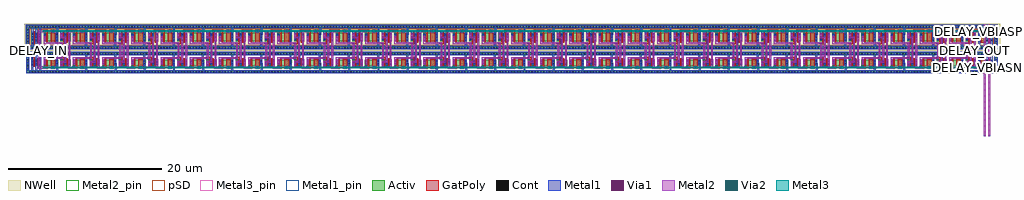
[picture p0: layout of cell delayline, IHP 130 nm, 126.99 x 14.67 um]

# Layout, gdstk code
import gdstk
lib = gdstk.Library(unit=1e-6, precision=1e-09)
def R(c, l, rs):  # rectangles x0, y0, x1, y1
    for r in rs: c.add(gdstk.rectangle(r[:2], r[2:], *l))
def A(c, l, x, y, w, h, nx, ny, dx, dy):  # array of equal rectangles
    R(c, l, [(x+i*dx, y+j*dy, x+i*dx+w, y+j*dy+h) for i in range(nx) for j in range(ny)])
def P(c, l, *ps):  # polygons
    for p in ps: c.add(gdstk.Polygon(p, *l))
Activ = (1, 0)
GatPoly = (5, 0)
Cont = (6, 0)
Metal1 = (8, 0)
Metal1_pin = (8, 2)
Metal2 = (10, 0)
Metal2_pin = (10, 2)
pSD = (14, 0)
Via1 = (19, 0)
Via2 = (29, 0)
Metal3 = (30, 0)
Metal3_pin = (30, 2)
NWell = (31, 0)

delay_cell_right_endcap = lib.new_cell('delay_cell_right_endcap')
R(delay_cell_right_endcap, Activ, [(0.715,0.795,2.575,1.535), (0.715,3.935,2.575,5.055)])
P(delay_cell_right_endcap, Activ, [(0.6,-0.15),(0.6,0.15),(2.885,0.15),(2.885,2.195),(0.6,2.195),(0.6,2.495),(3.185,2.495),(3.185,-0.15)],
  [(0.6,2.975),(0.6,3.275),(2.885,3.275),(2.885,5.715),(0.6,5.715),(0.6,6.015),(3.185,6.015),(3.185,2.975)])
R(delay_cell_right_endcap, GatPoly, [(1.055,0.405,1.655,1.715), (1.055,3.755,1.655,5.445)])
P(delay_cell_right_endcap, GatPoly, [(2.035,3.755),(2.035,5.445),(2.575,5.445),(2.575,5.145),(2.235,5.145),(2.235,3.755)],
  [(2.035,0.405),(2.035,1.715),(2.235,1.715),(2.235,0.705),(2.575,0.705),(2.575,0.405)])
A(delay_cell_right_endcap, Cont, 0.71, -0.08, 0.16, 0.16, 6, 2, 0.38, 2.345)
A(delay_cell_right_endcap, Cont, 2.955, -0.035, 0.16, 0.16, 1, 7, 0, 0.38)
A(delay_cell_right_endcap, Cont, 0.71, 3.045, 0.16, 0.16, 6, 2, 0.38, 2.74)
A(delay_cell_right_endcap, Cont, 2.955, 3.085, 0.16, 0.16, 1, 8, 0, 0.38)
A(delay_cell_right_endcap, Cont, 1.765, 4.005, 0.16, 0.16, 1, 3, 0, 0.385)
A(delay_cell_right_endcap, Cont, 2.345, 4.005, 0.16, 0.16, 1, 3, 0, 0.385)
R(delay_cell_right_endcap, Cont, [(1.275,0.475,1.435,0.635), (2.345,0.475,2.505,0.635), (0.785,0.965,0.945,1.125), (1.765,0.965,1.925,1.125), (2.345,0.965,2.505,1.125), (0.785,1.305,0.945,1.465), (1.765,1.305,1.925,1.465), (2.345,1.305,2.505,1.465), (0.785,4.005,0.945,4.165), (0.785,4.415,0.945,4.575), (0.785,4.775,0.945,4.935), (1.275,5.215,1.435,5.375), (2.345,5.215,2.505,5.375)])
R(delay_cell_right_endcap, Metal1, [(1.21,0.22,1.5,0.705), (1.7,0.22,1.99,2.125), (2.28,0.22,2.57,2.125), (1.7,3.345,1.99,5.645), (2.28,3.345,2.57,5.645), (1.21,5.145,1.5,5.645)])
P(delay_cell_right_endcap, Metal1, [(0.6,2.905),(0.6,3.345),(2.815,3.345),(2.815,5.645),(0.6,5.645),(0.6,6.085),(3.255,6.085),(3.255,2.905)],
  [(0.6,-0.22),(0.6,0.22),(2.81,0.22),(2.81,2.125),(0.6,2.125),(0.6,2.565),(3.25,2.565),(3.25,-0.22)],
  [(0.735,3.345),(0.735,4.805),(0.695,4.805),(0.695,5.645),(0.945,5.645),(0.945,4.985),(0.995,4.985),(0.995,3.345)],
  [(0.695,0.22),(0.695,1.125),(0.735,1.125),(0.735,2.125),(0.995,2.125),(0.995,0.86),(0.945,0.86),(0.945,0.22)])
R(delay_cell_right_endcap, Metal1_pin, [(0.645,2.125,3.25,2.565), (0.645,2.905,3.255,3.345)])
R(delay_cell_right_endcap, pSD, [(0.535,3.36,2.755,5.615)])
P(delay_cell_right_endcap, pSD, [(0.57,-0.18),(0.57,0.18),(2.85,0.18),(2.85,2.165),(0.57,2.165),(0.57,2.525),(3.215,2.525),(3.215,-0.18)])
R(delay_cell_right_endcap, NWell, [(-1.35,2.735,3.54,6.255)])
delay_cell_right_endcap.add(gdstk.Label('VDD', (3.045,3.305), layer=8, texttype=25))
delay_cell_right_endcap.add(gdstk.Label('VSS', (3.005,2.515), layer=8, texttype=25))

delay_cell = lib.new_cell('delay_cell')
R(delay_cell, Activ, [(0,-0.15,3.8,0.15), (0.115,0.795,1.975,1.535), (2.285,0.795,3.605,1.535), (0,2.195,3.8,2.495), (0,2.975,3.8,3.275), (0.115,3.935,1.975,5.055), (2.285,3.935,3.605,5.055), (0,5.715,3.8,6.015)])
R(delay_cell, GatPoly, [(1.035,0.405,1.635,1.715), (1.035,3.755,1.635,5.445)])
P(delay_cell, GatPoly, [(0.115,0.405),(0.115,0.705),(0.455,0.705),(0.455,1.715),(0.655,1.715),(0.655,0.405)],
  [(0.455,3.755),(0.455,5.145),(0.115,5.145),(0.115,5.445),(0.655,5.445),(0.655,3.755)],
  [(2.285,3.545),(2.285,3.845),(2.625,3.845),(2.625,5.235),(2.755,5.235),(2.755,3.545)],
  [(3.135,3.755),(3.135,5.145),(3.05,5.145),(3.05,5.445),(3.35,5.445),(3.35,5.145),(3.265,5.145),(3.265,3.755)],
  [(2.625,0.615),(2.625,1.625),(2.285,1.625),(2.285,1.925),(2.755,1.925),(2.755,0.615)],
  [(3.05,0.42),(3.05,0.72),(3.135,0.72),(3.135,1.73),(3.265,1.73),(3.265,0.72),(3.35,0.72),(3.35,0.42)])
A(delay_cell, Cont, 0.11, -0.08, 0.16, 0.16, 10, 2, 0.38, 2.345)
A(delay_cell, Cont, 0.11, 3.045, 0.16, 0.16, 10, 2, 0.38, 2.74)
A(delay_cell, Cont, 0.185, 4.005, 0.16, 0.16, 1, 3, 0, 0.385)
R(delay_cell, Cont, [(0.185,0.475,0.345,0.635), (1.255,0.475,1.415,0.635), (3.12,0.49,3.28,0.65), (2.355,0.865,2.515,1.025), (0.185,0.965,0.345,1.125), (1.745,0.965,1.905,1.125), (2.865,0.965,3.025,1.125), (3.375,0.965,3.535,1.125), (2.355,1.205,2.515,1.365), (0.185,1.305,0.345,1.465), (1.745,1.305,1.905,1.465), (2.865,1.305,3.025,1.465), (3.375,1.305,3.535,1.465), (2.355,1.695,2.515,1.855), (2.355,3.615,2.515,3.775), (1.745,4.005,1.905,4.165), (2.865,4.005,3.025,4.165), (3.375,4.005,3.535,4.165), (2.355,4.13,2.515,4.29), (1.745,4.415,1.905,4.575), (2.865,4.415,3.025,4.575), (3.375,4.415,3.535,4.575), (2.355,4.475,2.515,4.635), (1.745,4.775,1.905,4.935), (2.865,4.775,3.025,4.935), (3.375,4.775,3.535,4.935), (2.355,4.825,2.515,4.985), (0.185,5.215,0.345,5.375), (1.255,5.215,1.415,5.375), (3.12,5.215,3.28,5.375)])
R(delay_cell, Metal1, [(1.19,0.41,1.48,0.79), (0.05,0.425,0.405,0.685), (0.12,0.9,0.41,1.6), (3.325,0.9,3.585,1.6), (2.205,1.63,2.58,1.92), (2.205,3.55,2.58,3.84), (3.31,3.935,3.6,4.985), (0.12,3.94,0.41,4.945), (1.19,5.06,1.48,5.44), (0.03,5.15,0.41,5.44)])
P(delay_cell, Metal1, [(2.305,0.44),(2.305,1.43),(2.565,1.43),(2.565,0.7),(3.33,0.7),(3.33,0.44)],
  [(2.29,4.065),(2.29,5.425),(3.33,5.425),(3.33,5.165),(2.58,5.165),(2.58,4.065)],
  [(0,-0.22),(0,0.22),(1.745,0.22),(1.745,0.86),(1.695,0.86),(1.695,2.125),(0,2.125),(0,2.565),(3.8,2.565),(3.8,2.125),(3.075,2.125),(3.075,0.9),(2.815,0.9),(2.815,2.125),(1.955,2.125),(1.955,1.125),(1.995,1.125),(1.995,0.22),(3.8,0.22),(3.8,-0.22)],
  [(0,2.905),(0,3.345),(1.695,3.345),(1.695,4.985),(1.745,4.985),(1.745,5.645),(0,5.645),(0,6.085),(3.8,6.085),(3.8,5.645),(1.995,5.645),(1.995,4.805),(1.955,4.805),(1.955,3.345),(2.815,3.345),(2.815,4.985),(3.06,4.985),(3.06,3.345),(3.8,3.345),(3.8,2.905)])
R(delay_cell, Metal1_pin, [(0,-0.22,2.075,0.22), (2.795,-0.22,3.8,0.22), (0,2.125,2.095,2.565), (0,2.905,2.095,3.345), (0,5.645,3.8,6.085)])
R(delay_cell, Metal2, [(1.07,0.385,1.58,0.79), (1.08,5.06,1.59,5.465)])
P(delay_cell, Metal2, [(0.12,0.92),(0.12,1.885),(2.285,1.885),(2.285,1.925),(2.345,1.925),(2.345,3.545),(2.265,3.545),(2.265,3.585),(0.12,3.585),(0.12,4.64),(0.41,4.64),(0.41,3.84),(2.58,3.84),(2.58,1.665),(0.41,1.665),(0.41,0.92)],
  [(2.29,0.73),(2.29,1.43),(2.83,1.43),(2.83,4.35),(2.29,4.35),(2.29,5.035),(2.58,5.035),(2.58,4.57),(3.05,4.57),(3.05,1.195),(2.58,1.195),(2.58,0.73)],
  [(3.31,0.41),(3.31,1.625),(3.345,1.625),(3.345,3.935),(3.31,3.935),(3.31,5.44),(4.21,5.44),(4.21,5.15),(3.6,5.15),(3.6,3.935),(3.565,3.935),(3.565,1.615),(3.6,1.615),(3.6,0.665),(4.205,0.665),(4.205,0.41)])
R(delay_cell, pSD, [(-0.07,-0.18,3.91,0.18), (-0.07,2.165,3.91,2.525), (-0.065,3.36,3.83,5.615)])
R(delay_cell, Via1, [(0.165,0.46,0.355,0.65), (1.24,0.46,1.43,0.65), (2.34,0.78,2.53,0.97), (0.17,0.95,0.36,1.14), (3.36,0.95,3.55,1.14), (2.34,1.19,2.53,1.38), (0.17,1.36,0.36,1.55), (3.36,1.36,3.55,1.55), (2.34,1.68,2.53,1.87), (2.34,3.6,2.53,3.79), (0.17,3.99,0.36,4.18), (3.36,3.99,3.55,4.18), (0.17,4.4,0.36,4.59), (2.34,4.4,2.53,4.59), (3.36,4.4,3.55,4.59), (2.34,4.81,2.53,5), (0.17,5.2,0.36,5.39), (1.24,5.2,1.43,5.39)])
R(delay_cell, Via2, [(1.24,0.46,1.43,0.65), (1.24,5.2,1.43,5.39)])
P(delay_cell, Metal3, [(1.19,5.15),(1.19,5.175),(0,5.175),(0,5.415),(1.19,5.415),(1.19,5.465),(1.48,5.465),(1.48,5.415),(3.8,5.415),(3.8,5.175),(1.48,5.175),(1.48,5.15)],
  [(1.19,0.41),(1.19,0.435),(0,0.435),(0,0.675),(1.19,0.675),(1.19,0.7),(1.48,0.7),(1.48,0.675),(3.8,0.675),(3.8,0.435),(1.48,0.435),(1.48,0.41)])
R(delay_cell, NWell, [(-0.24,2.735,4.04,6.255)])
delay_cell.add(gdstk.Label('VDD', (0.04,6.05), layer=8, texttype=25))
delay_cell.add(gdstk.Label('VSS', (2.835,0.19), layer=8, texttype=25))
delay_cell.add(gdstk.Label('VDD', (0.065,3.32), layer=8, texttype=25))
delay_cell.add(gdstk.Label('VSS', (0.07,2.525), layer=8, texttype=25))
delay_cell.add(gdstk.Label('VSS', (0.03,0.195), layer=8, texttype=25))

delay_cell_left_endcap = lib.new_cell('delay_cell_left_endcap')
R(delay_cell_left_endcap, Activ, [(0.61,0.795,1.93,1.535), (0.61,3.935,1.93,5.055)])
P(delay_cell_left_endcap, Activ, [(0,2.975),(0,6.015),(2.115,6.015),(2.115,5.715),(0.3,5.715),(0.3,3.275),(2.115,3.275),(2.115,2.975)],
  [(0,-0.15),(0,2.495),(2.115,2.495),(2.115,2.195),(0.3,2.195),(0.3,0.15),(2.115,0.15),(2.115,-0.15)])
P(delay_cell_left_endcap, GatPoly, [(0.61,3.545),(0.61,3.845),(0.95,3.845),(0.95,5.235),(1.08,5.235),(1.08,3.545)],
  [(1.46,3.755),(1.46,5.145),(1.375,5.145),(1.375,5.445),(1.675,5.445),(1.675,5.145),(1.59,5.145),(1.59,3.755)],
  [(1.375,0.42),(1.375,0.72),(1.46,0.72),(1.46,1.73),(1.59,1.73),(1.59,0.72),(1.675,0.72),(1.675,0.42)],
  [(0.95,0.615),(0.95,1.625),(0.61,1.625),(0.61,1.925),(1.08,1.925),(1.08,0.615)])
A(delay_cell_left_endcap, Cont, 0.325, -0.08, 0.16, 0.16, 5, 2, 0.38, 2.345)
A(delay_cell_left_endcap, Cont, 0.07, 0.345, 0.16, 0.16, 1, 5, 0, 0.38)
A(delay_cell_left_endcap, Cont, 0.325, 3.045, 0.16, 0.16, 5, 2, 0.38, 2.74)
A(delay_cell_left_endcap, Cont, 0.07, 3.465, 0.16, 0.16, 1, 6, 0, 0.38)
R(delay_cell_left_endcap, Cont, [(1.445,0.49,1.605,0.65), (0.68,0.865,0.84,1.025), (1.19,0.965,1.35,1.125), (1.7,0.965,1.86,1.125), (0.68,1.205,0.84,1.365), (1.19,1.305,1.35,1.465), (1.7,1.305,1.86,1.465), (0.68,1.695,0.84,1.855), (0.68,3.615,0.84,3.775), (1.19,4.005,1.35,4.165), (1.7,4.005,1.86,4.165), (0.68,4.13,0.84,4.29), (1.19,4.415,1.35,4.575), (1.7,4.415,1.86,4.575), (0.68,4.475,0.84,4.635), (1.19,4.775,1.35,4.935), (1.7,4.775,1.86,4.935), (0.68,4.825,0.84,4.985), (1.445,5.215,1.605,5.375)])
R(delay_cell_left_endcap, Metal1, [(0.63,0.22,0.89,2.125), (0.615,3.345,0.905,5.645)])
P(delay_cell_left_endcap, Metal1, [(1.14,3.345),(1.14,5.645),(1.385,5.645),(1.385,5.445),(1.635,5.445),(1.635,5.645),(1.925,5.645),(1.925,3.345),(1.635,3.345),(1.635,5.145),(1.385,5.145),(1.385,3.345)],
  [(1.14,0.22),(1.14,2.125),(1.4,2.125),(1.4,0.72),(1.65,0.72),(1.65,2.125),(1.91,2.125),(1.91,0.22),(1.65,0.22),(1.65,0.42),(1.4,0.42),(1.4,0.22)],
  [(-0.075,2.905),(-0.075,6.085),(2.115,6.085),(2.115,5.645),(0.375,5.645),(0.375,3.345),(2.115,3.345),(2.115,2.905)],
  [(-0.07,-0.22),(-0.07,2.565),(2.115,2.565),(2.115,2.125),(0.38,2.125),(0.38,0.22),(2.115,0.22),(2.115,-0.22)])
R(delay_cell_left_endcap, Metal1_pin, [(-0.07,-0.22,2.115,0.22), (-0.07,2.125,1.395,2.565), (-0.075,2.905,1.395,3.345), (-0.075,5.645,2.115,6.085)])
R(delay_cell_left_endcap, pSD, [(0.43,3.36,2.17,5.615)])
P(delay_cell_left_endcap, pSD, [(-0.03,-0.18),(-0.03,2.525),(2.225,2.525),(2.225,2.165),(0.34,2.165),(0.34,0.18),(2.225,0.18),(2.225,-0.18)])
R(delay_cell_left_endcap, NWell, [(-0.335,2.735,2.465,6.255)])
delay_cell_left_endcap.add(gdstk.Label('VSS', (0.15,0.17), layer=8, texttype=25))
delay_cell_left_endcap.add(gdstk.Label('VDD', (0.14,3.305), layer=8, texttype=25))
delay_cell_left_endcap.add(gdstk.Label('VSS', (0.175,2.515), layer=8, texttype=25))
delay_cell_left_endcap.add(gdstk.Label('VDD', (0.145,6.04), layer=8, texttype=25))

delayline = lib.new_cell('delayline')
R(delayline, Metal2, [(124.53,-8.415,124.82,6.085), (125.12,-8.415,125.41,6.085), (123.225,0.9,123.515,4.64)])
P(delayline, Metal2, [(1.51,0.405),(1.51,5.44),(2.525,5.44),(2.525,5.15),(1.8,5.15),(1.8,0.705),(2.52,0.705),(2.52,0.405)])
R(delayline, Metal2_pin, [(1.51,0.405,1.8,5.44), (123.225,0.9,123.515,4.64)])
R(delayline, Via2, [(125.17,0.455,125.36,0.645), (124.58,5.2,124.77,5.39)])
P(delayline, Metal3, [(125.115,0.405),(125.115,0.435),(123.715,0.435),(123.715,0.675),(125.12,0.675),(125.12,0.695),(125.41,0.695),(125.41,0.435),(125.41,0.405)],
  [(124.53,5.15),(124.53,5.175),(123.715,5.175),(123.715,5.415),(124.53,5.415),(124.53,5.44),(124.82,5.44),(124.82,5.15)])
R(delayline, Metal3_pin, [(123.715,0.435,125.41,0.675), (123.715,5.175,124.82,5.415)])
delayline.add(gdstk.Reference(delay_cell_right_endcap, (123.115,0)))
r = gdstk.Reference(delay_cell, (2.115,0)); r.repetition = gdstk.Repetition(32, 1, v1=(3.8,0), v2=(0,0)); delayline.add(r)
delayline.add(gdstk.Reference(delay_cell_left_endcap, (0,0)))
delayline.add(gdstk.Label('DELAY_IN', (1.615,2.74), layer=10, texttype=25))
delayline.add(gdstk.Label('DELAY_OUT', (123.365,2.695), layer=10, texttype=25))
delayline.add(gdstk.Label('DELAY_VBIASP', (124.67,5.29), layer=30, texttype=25))
delayline.add(gdstk.Label('DELAY_VBIASN', (125.255,0.545), layer=30, texttype=25))

lib.write_gds('delayline.gds')
